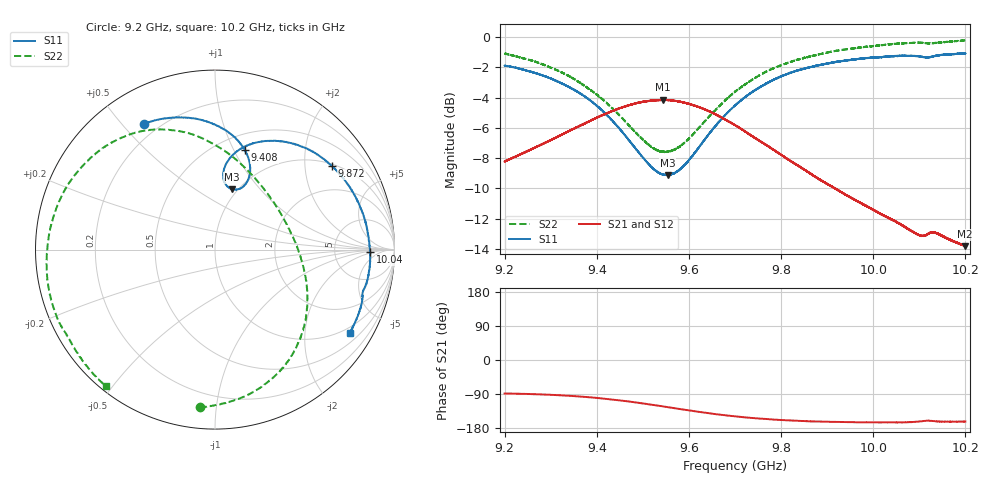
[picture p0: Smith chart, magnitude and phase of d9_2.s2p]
!Agilent Technologies,N5242A,MY51221714,A.09.90.19
!Agilent N5242A: A.09.90.19
!Date: Saturday, March 16, 2024 08:55:18
!Correction: S11(Full 2 Port(1,2))
!S21(Full 2 Port(1,2))
!S12(Full 2 Port(1,2))
!S22(Full 2 Port(1,2))
!S2P File: Measurements: S11, S21, S12, S22:
# Hz S  dB  R 50
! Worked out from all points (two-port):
!   16001 points, 9.2 GHz to 10.2 GHz, reference 50 ohm
!   highest |S21| = -4.15 dB at 9.543 GHz (marker M1); lowest = -13.8 dB at 10.2 GHz (marker M2)
!   |S21| within 3 dB of the highest: 9.276601 GHz to 9.276713 GHz (112.3 kHz wide, 0.00121 % of centre); 9.277 GHz to 9.768 GHz (491 MHz wide, 5.16 % of centre)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
!   lowest |S11| = -9.1 dB at 9.554 GHz (marker M3), VSWR 2.07, Z = 46.8 + j35.9 ohm
!   |S11| at or under -10 dB: nowhere
!   |S22| runs from -7.6 to -0.2 dB; largest |S21 - S12| = 0.0065
!   S11 on the Smith chart (normalised r, x): 9.2 GHz: 0.14, +0.57; 9.408 GHz: 0.66, +1.11; 9.872 GHz: 1.06, +2.76; 10.04 GHz: 14, -2; 10.2 GHz: 0.80, -3.35
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9.2e9  -1.89 119.6  -8.22 -88.4  -8.21 -88.9  -1.08 -95.4
9.279625e9  -2.51 101.5  -7.11 -91.0  -7.10 -91.3  -1.76 -73.6
9.323312e9  -3.06 91.4  -6.46 -93.3  -6.45 -93.7  -2.34 -61.4
9.366688e9  -3.78 81.8  -5.82 -96.8  -5.80 -97.1  -3.08 -49.1
9.407562e9  -4.74 73.4  -5.23 -101.0  -5.23 -101.4  -3.99 -36.5
9.46575e9  -6.66 65.3  -4.55 -109.0  -4.54 -109.3  -5.71 -15.1
9.533375e9  -8.95 69.8  -4.17 -120.5  -4.16 -121.0  -7.49 21.6
9.542688e9  -9.05 71.9  -4.15 -122.3  -4.15 -122.6  -7.57 27.7
9.554438e9  -9.13 74.7  -4.17 -124.5  -4.17 -124.9  -7.59 35.3
9.628688e9  -7.00 83.6  -4.71 -138.1  -4.71 -138.5  -5.75 76.8
9.7e9  -4.53 74.2  -5.82 -148.8  -5.81 -149.2  -3.62 102.0
9.779625e9  -2.88 56.7  -7.37 -156.7  -7.37 -157.3  -2.12 123.4
9.822125e9  -2.34 46.9  -8.22 -159.6  -8.22 -160.1  -1.62 134.0
9.866688e9  -1.97 36.7  -9.08 -162.0  -9.08 -162.4  -1.26 145.2
9.872e9  -1.93 35.4  -9.19 -162.1  -9.19 -162.5  -1.22 146.5
9.954875e9  -1.49 17.1  -10.66 -164.2  -10.67 -164.6  -0.75 167.5
1.003338e10  -1.29 0.5  -11.96 -164.6  -11.95 -165.1  -0.48 -172.3
1.004031e10  -1.26 -1.0  -12.06 -164.6  -12.05 -165.0  -0.46 -170.6
1.010544e10  -1.30 -14.3  -13.15 -161.5  -13.14 -162.1  -0.38 -153.9
1.01335e10  -1.26 -18.6  -12.93 -161.6  -12.93 -162.0  -0.39 -146.1
1.01995e10  -1.10 -31.6  -13.82 -162.4  -13.82 -163.0  -0.23 -128.7
1.02e10  -1.09 -31.7  -13.82 -162.3  -13.80 -163.0  -0.23 -128.5
